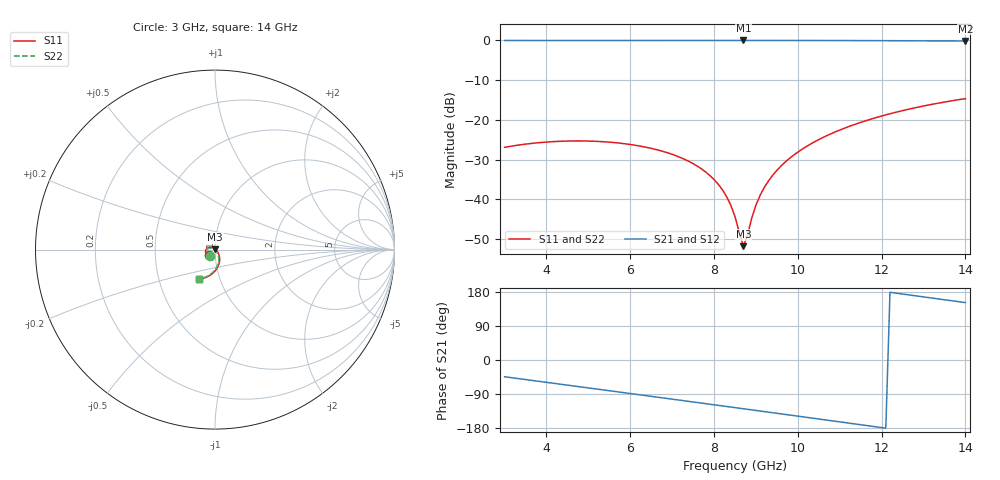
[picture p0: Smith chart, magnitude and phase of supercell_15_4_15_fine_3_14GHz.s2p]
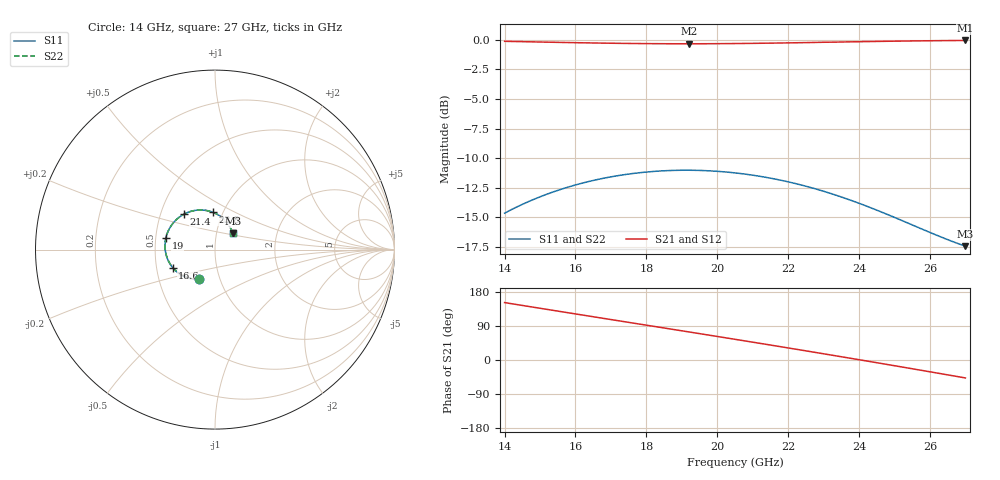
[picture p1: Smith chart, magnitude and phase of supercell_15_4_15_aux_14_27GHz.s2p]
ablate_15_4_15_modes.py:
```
#!/usr/bin/env python3
"""Mode ablation at the selected physical 15-4-15 operating point.

The experiment holds geometry, HFSS Bloch data, length, pump, and currents
fixed. It tests each parasitic family alone and removes each family from the
full eight-mode configuration. Both ideal propagation and the complete general
model are reported so nonlinear coupling can be distinguished from the
loss/reflection treatment.
"""

from __future__ import annotations

import csv
import json
import logging
import sys
from pathlib import Path

import matplotlib

matplotlib.use("Agg")
import matplotlib.pyplot as plt
import numpy as np

ROOT = Path(__file__).resolve().parents[1]
sys.path[:0] = [str(ROOT / "code"), str(ROOT / "scripts")]

from analyze_hfss_supercell import read_touchstone  # noqa: E402
from hfss_bloch import apply_bloch_parameters  # noqa: E402
from scan_hfss_loading_pattern import make_cell  # noqa: E402
from twpa_project_utils import gain_metrics, load_hfss_cell_parameters  # noqa: E402
from twpasolver import TWPAnalysis  # noqa: E402
from twpasolver.logger import log  # noqa: E402
from twpasolver.models import TWPA  # noqa: E402
from twpasolver.modes_rwa import ModeArrayFactory  # noqa: E402


OPERATING_POINT = {
    "pattern": "15-4-15",
    "left_unloaded_cells": 15,
    "loaded_cells": 4,
    "right_unloaded_cells": 15,
    "cells_per_supercell": 34,
    "supercell_length_um": 68.0,
    "supercell_repeats": 900,
    "device_length_mm": 61.2,
    "pump_GHz": 11.2,
    "Idc_A": 350e-6,
    "Ip0_A": 290e-6,
    "Is0_A": 1.4e-6,
}


CONFIGURATIONS = {
    # Baseline and individual additions identify what each family can do alone.
    "basic_p_s_i": (0, 0, 0),
    "basic_plus_p2": (1, 0, 0),
    "basic_plus_ps_pi": (0, 1, 0),
    "basic_plus_s2_i2": (0, 0, 1),
    # Leave-one-family-out cases expose interactions that only occur when other
    # parasitic families are simultaneously present.
    "all_except_p2": (0, 1, 1),
    "all_except_ps_pi": (1, 0, 1),
    "all_except_s2_i2": (1, 1, 0),
    "all_8_modes": (1, 1, 1),
}


def summarize(frequency: np.ndarray, gain: np.ndarray) -> dict[str, object]:
    metrics = gain_metrics(frequency, gain, band=(4.0, 8.0))
    metrics["minimum_in_band_gain_db"] = float(np.min(gain))
    metrics["maximum_in_band_gain_db"] = float(np.max(gain))
    metrics["strict_pass"] = bool(
        metrics["minimum_in_band_gain_db"] >= 17.0
        and metrics["ripple_peak_to_peak_db"] <= 3.0
    )
    return metrics


def main() -> None:
    log.setLevel(logging.WARNING)
    inputs = ROOT / "hfss_inputs"
    output = ROOT / "results" / "bloch_corrected" / "step_23_15_4_15_mode_ablation"
    output.mkdir(parents=True, exist_ok=True)

    cells, provenance = load_hfss_cell_parameters(inputs / "hfss_cell_parameters.csv")
    f1, s1 = read_touchstone(inputs / "supercell_15_4_15_fine_3_14GHz.s2p")
    f2, s2 = read_touchstone(inputs / "supercell_15_4_15_aux_14_27GHz.s2p")
    if not np.isclose(f1[-1], f2[0]) or not np.allclose(s1[-1], s2[0], atol=1e-12):
        raise ValueError("The 15-4-15 HFSS sweeps disagree at 14 GHz")
    measured_f = np.concatenate((f1, f2[1:]))
    measured_s = np.concatenate((s1, s2[1:]), axis=0)

    twpa = TWPA(
        cells=[
            make_cell(cells["unloaded"], 15),
            make_cell(cells["loaded"], 4),
            make_cell(cells["unloaded"], 15),
        ],
        N=900,
        Istar=2e-3,
        Idc=OPERATING_POINT["Idc_A"],
        Ip0=OPERATING_POINT["Ip0_A"],
    )
    analysis = TWPAnalysis(twpa=twpa, f_arange=(0.2, 30.0, 0.002), unit="GHz")
    analysis.update_base_data()
    bloch_provenance = apply_bloch_parameters(
        analysis.data, measured_f, measured_s, 34
    )

    mode_details: dict[str, dict[str, object]] = {}
    for label, (pump_harmonics, conversions, signal_harmonics) in CONFIGURATIONS.items():
        if label == "basic_p_s_i":
            modes = ModeArrayFactory.create_basic(analysis.data)
        else:
            modes = ModeArrayFactory.create_extended_3wm(
                analysis.data,
                n_pump_harmonics=pump_harmonics,
                n_frequency_conversion=conversions,
                n_signal_harmonics=signal_harmonics,
            )
        analysis.add_mode_array(label, modes)
        mode_details[label] = {
            "mode_count": len(modes.modes),
            "included_modes": list(modes.modes),
            "p2_included": bool(pump_harmonics),
            "ps_pi_included": bool(conversions),
            "s2_i2_included": bool(signal_harmonics),
        }

    signals = np.arange(4.0, 8.0001, 0.05)
    models = ("general_ideal", "general")
    rows: list[dict[str, object]] = []
    curves: dict[str, np.ndarray] = {}
    for model in models:
        for configuration in CONFIGURATIONS:
            result = analysis.gain(
                signals,
                pump=OPERATING_POINT["pump_GHz"],
                Is0=OPERATING_POINT["Is0_A"],
                Ip0=None,
                model=model,
                mode_array_config=configuration,
                thin=300,
                save=False,
            )
            gain = np.asarray(result["gain_db"], dtype=float)
            if not np.all(np.isfinite(gain)):
                raise RuntimeError(f"Non-finite result for {model}/{configuration}")
            curves[f"{model}__{configuration}"] = gain
            rows.append(
                {
                    "model": model,
                    "configuration": configuration,
                    **mode_details[configuration],
                    **summarize(signals, gain),
                }
            )

    all_rows = {
        model: next(
            row
            for row in rows
            if row["model"] == model and row["configuration"] == "all_8_modes"
        )
        for model in models
    }
    for row in rows:
        full = all_rows[str(row["model"])]
        row["ripple_change_vs_all_8_modes_db"] = float(
            row["ripple_peak_to_peak_db"] - full["ripple_peak_to_peak_db"]
        )
        row["minimum_gain_change_vs_all_8_modes_db"] = float(
            row["minimum_in_band_gain_db"] - full["minimum_in_band_gain_db"]
        )

    with (output / "01_mode_ablation_metrics.csv").open("w", newline="") as handle:
        writer = csv.DictWriter(handle, fieldnames=list(rows[0]))
        writer.writeheader()
        writer.writerows(rows)
    with (output / "02_mode_ablation_curves.csv").open("w", newline="") as handle:
        writer = csv.writer(handle)
        writer.writerow(["signal_GHz", *curves])
        writer.writerows(zip(signals, *(curves[key] for key in curves)))

    def model_rows(model: str) -> dict[str, dict[str, object]]:
        return {
            str(row["configuration"]): row for row in rows if row["model"] == model
        }

    complete = model_rows("general")
    removal_effects = {
        "remove_p2": {
            "ripple_reduction_db": float(
                complete["all_8_modes"]["ripple_peak_to_peak_db"]
                - complete["all_except_p2"]["ripple_peak_to_peak_db"]
            ),
            "minimum_gain_change_db": float(
                complete["all_except_p2"]["minimum_in_band_gain_db"]
                - complete["all_8_modes"]["minimum_in_band_gain_db"]
            ),
        },
        "remove_ps_pi": {
            "ripple_reduction_db": float(
                complete["all_8_modes"]["ripple_peak_to_peak_db"]
                - complete["all_except_ps_pi"]["ripple_peak_to_peak_db"]
            ),
            "minimum_gain_change_db": float(
                complete["all_except_ps_pi"]["minimum_in_band_gain_db"]
                - complete["all_8_modes"]["minimum_in_band_gain_db"]
            ),
        },
        "remove_s2_i2": {
            "ripple_reduction_db": float(
                complete["all_8_modes"]["ripple_peak_to_peak_db"]
                - complete["all_except_s2_i2"]["ripple_peak_to_peak_db"]
            ),
            "minimum_gain_change_db": float(
                complete["all_except_s2_i2"]["minimum_in_band_gain_db"]
                - complete["all_8_modes"]["minimum_in_band_gain_db"]
            ),
        },
    }
    ranking = sorted(
        removal_effects,
        key=lambda key: removal_effects[key]["ripple_reduction_db"],
        reverse=True,
    )
    assessment = {
        "status": "15_4_15_selected_point_mode_ablation",
        "operating_point": OPERATING_POINT,
        "experiment": {
            "controlled_variables": "Same geometry, HFSS Bloch data, length, pump, currents, signal grid, and solver settings for every case.",
            "individual_additions": [
                "basic_plus_p2",
                "basic_plus_ps_pi",
                "basic_plus_s2_i2",
            ],
            "leave_one_family_out": [
                "all_except_p2",
                "all_except_ps_pi",
                "all_except_s2_i2",
            ],
        },
        "complete_model_metrics": complete,
        "complete_model_removal_effects": removal_effects,
        "ranking_by_ripple_reduction_when_removed": ranking,
        "ideal_model_metrics": model_rows("general_ideal"),
        "hfss_cell_fit_provenance": provenance,
        "bloch_extraction": bloch_provenance,
        "interpretation_caution": (
            "Mode families interact nonlinearly. A leave-one-out change measures "
            "that family's contribution in the presence of the others; it is not "
            "an additive decomposition of ripple."
        ),
    }
    (output / "03_assessment.json").write_text(json.dumps(assessment, indent=2) + "\n")

    fig, axes = plt.subplots(2, 2, figsize=(14, 10), sharex=True)
    addition_labels = (
        "basic_p_s_i",
        "basic_plus_p2",
        "basic_plus_ps_pi",
        "basic_plus_s2_i2",
        "all_8_modes",
    )
    removal_labels = (
        "all_8_modes",
        "all_except_p2",
        "all_except_ps_pi",
        "all_except_s2_i2",
    )
    for column, model in enumerate(models):
        for label in addition_labels:
            axes[0, column].plot(signals, curves[f"{model}__{label}"], label=label)
        axes[0, column].set_title(f"{model}: add each family")
        for label in removal_labels:
            axes[1, column].plot(signals, curves[f"{model}__{label}"], label=label)
        axes[1, column].set_title(f"{model}: remove one family from all modes")
    for axis in axes.flat:
        axis.axhline(17.0, color="black", linestyle=":", linewidth=1)
        axis.grid(True, alpha=0.3)
        axis.legend(fontsize=7)
    axes[0, 0].set_ylabel("Gain (dB)")
    axes[1, 0].set_ylabel("Gain (dB)")
    axes[1, 0].set_xlabel("Signal frequency (GHz)")
    axes[1, 1].set_xlabel("Signal frequency (GHz)")
    fig.suptitle(
        "15-4-15 mode ablation at 11.2 GHz\n"
        "61.2 mm, Idc 350 µA, pump current 290 µA"
    )
    fig.tight_layout()
    fig.savefig(output / "04_mode_ablation.png", dpi=180)
    fig.savefig(output / "04_mode_ablation.pdf")
    plt.close(fig)
    print(json.dumps(assessment, indent=2))


if __name__ == "__main__":
    main()
```
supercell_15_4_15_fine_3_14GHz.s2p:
! Touchstone file exported from HFSS 2026.1.0
!  Generated:  01:10:25 PM Aug 20, 2026
!  Design:  HFSSDesign_Supercell_15_4_15
!  Project:  15-4-15_super_cell
!  Setup:  Setup1
!  Solution:  Sweep_16_2_16_fine
! Variables:
!  stub_length = 12.1um
# GHz S MA R 50.000000
! Terminal data exported
! Port[1] = Port1
! Port[2] = Port2
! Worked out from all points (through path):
!   111 points, 3 GHz to 14 GHz, reference 50 ohm
!   highest |S21| = 0.00 dB at 8.7 GHz (marker M1); lowest = -0.2 dB at 14 GHz (marker M2)
!   group delay of S21, straight-line fit = 41.5 ps
!   lowest |S11| = -51.7 dB at 8.7 GHz (marker M3), VSWR 1.01, Z = 50.1 + j0.218 ohm
!   |S11| at or under -10 dB: start of sweep to end of sweep
!   |S22| runs from -51.7 to -14.6 dB; largest |S21 - S12| = 0.00023
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3  0.04529 -136.7  0.999 -44.2  0.999 -44.2  0.04529 -131.8
! Gamma 0 2588.53611777122 9.04066273999306E-32 2601.38380860688
! Port Impedance 50 0 50 0
5  0.0543 -166.0  0.9985 -73.7  0.9985 -73.7  0.0543 -161.4
6.8  0.03997 166.2  0.9992 -100.4  0.9992 -100.4  0.03997 173.1
7.9  0.02003 146.1  0.9998 -116.7  0.9998 -116.7  0.02003 160.5
8.3  0.01087 133.7  0.9999 -122.7  0.9999 -122.7  0.01087 160.9
8.5  0.006097 119.5  1 -125.7  1 -125.7  0.006097 169.2
8.7  0.002588 57.0  1 -128.7  1 -128.7  0.002588 -134.3
9.2  0.01419 -35.6  0.9999 -136.2  0.9999 -136.2  0.01419 -56.7
10.1  0.0428 -56.2  0.9991 -149.7  0.9991 -149.7  0.0428 -63.2
12  0.1121 -87.1  0.9937 -178.4  0.9937 -178.4  0.1121 -89.6
14  0.1854 -117.9  0.9827 151.5  0.9827 151.5  0.1854 -119.1
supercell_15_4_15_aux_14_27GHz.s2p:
! Touchstone file exported from HFSS 2026.1.0
!  Generated:  01:09:50 PM Aug 20, 2026
!  Design:  HFSSDesign_Supercell_15_4_15
!  Project:  15-4-15_super_cell
!  Setup:  Setup1
!  Solution:  Sweep_16_2_16_aux
! Variables:
!  stub_length = 12.1um
# GHz S MA R 50.000000
! Terminal data exported
! Port[1] = Port1
! Port[2] = Port2
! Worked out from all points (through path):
!   66 points, 14 GHz to 27 GHz, reference 50 ohm
!   highest |S21| = -0.08 dB at 27 GHz (marker M1); lowest = -0.4 dB at 19.2 GHz (marker M2)
!   group delay of S21, straight-line fit = 42.3 ps
!   lowest |S11| = -17.4 dB at 27 GHz (marker M3), VSWR 1.31, Z = 59.8 + j11.2 ohm
!   |S11| at or under -10 dB: start of sweep to end of sweep
!   |S22| runs from -17.4 to -11.0 dB; largest |S21 - S12| = 0.0007
!   S11 on the Smith chart (normalised r, x): 14 GHz: 0.80, -0.27; 16.6 GHz: 0.61, -0.13; 19 GHz: 0.57, +0.08; 21.4 GHz: 0.66, +0.28; 23.8 GHz: 0.89, +0.39; 27 GHz: 1.20, +0.22
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14  0.1854 -117.9  0.9827 151.5  0.9827 151.5  0.1854 -119.1
! Gamma 0 12079.8651550384 0 12139.8222072022
! Port Impedance 50 0 50 0
16.6  0.2567 -157.1  0.9665 112.7  0.9665 112.7  0.2567 -157.6
17.8  0.2745 -175.0  0.9616 94.9  0.9616 94.9  0.2745 -175.3
19  0.2813 167.1  0.9596 77.0  0.9596 77.0  0.2813 167.0
19.2  0.2813 164.1  0.9596 74.1  0.9596 74.1  0.2813 164.0
20.6  0.273 143.1  0.962 53.1  0.962 53.1  0.273 143.1
21.4  0.2621 130.9  0.965 41.0  0.965 41.0  0.2621 131.1
22.6  0.2387 112.5  0.9711 22.6  0.9711 22.6  0.2387 112.7
23.8  0.2093 93.8  0.9778 3.9  0.9779 3.9  0.2093 94.0
25.4  0.1679 68.4  0.9858 -21.5  0.9858 -21.5  0.1679 68.6
27  0.1346 42.8  0.9909 -47.3  0.9909 -47.3  0.1346 42.5
